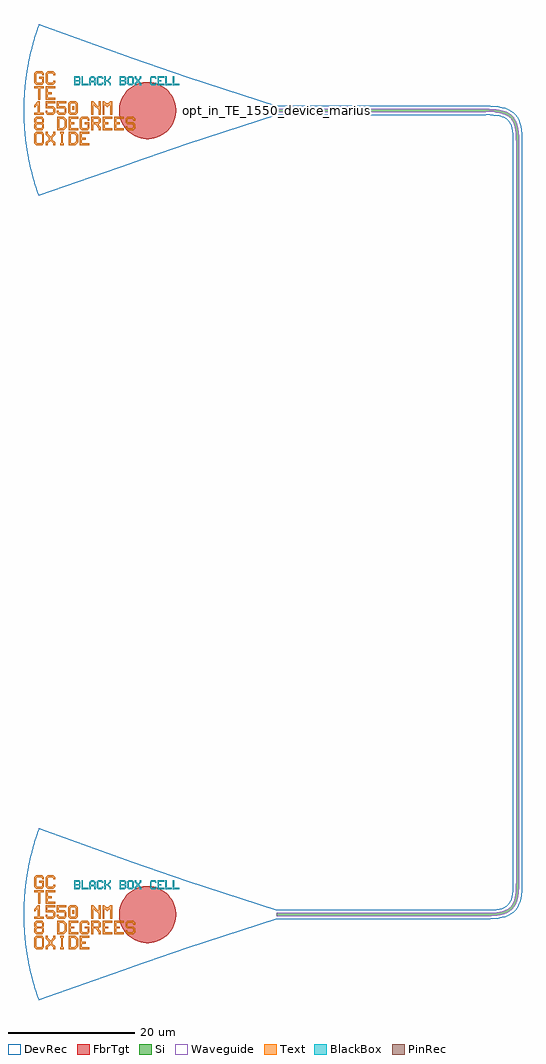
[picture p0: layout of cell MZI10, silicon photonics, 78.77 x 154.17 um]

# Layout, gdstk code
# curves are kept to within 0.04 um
import gdstk
lib = gdstk.Library(unit=1e-6, precision=1e-09)
def R(c, l, rs):  # rectangles x0, y0, x1, y1
    for r in rs: c.add(gdstk.rectangle(r[:2], r[2:], *l))
def P(c, l, *ps):  # polygons
    for p in ps: c.add(gdstk.Polygon(p, *l))
Si = (1, 0)
PinRec = (1, 10)
Waveguide = (1, 99)
Text = (10, 0)
DevRec = (68, 0)
FbrTgt = (81, 0)
BlackBox = (998, 0)

text_1 = lib.new_cell('TEXT$1')
P(text_1, BlackBox, [(0,0),(0,1.4),(0.8,1.4),(1,1.2),(0.2,1.2),(0.2,0.8),(0.7,0.8),(0.8,0.9),(0.8,1.1),(0.7,1.2),(1,1.2),(1,0.8),(0.9,0.7),(1,0.6),(0.2,0.6),(0.2,0.2),(0.7,0.2),(0.8,0.3),(0.8,0.5),(0.7,0.6),(1,0.6),(1,0.2),(0.8,0)],
  [(1.2,0),(1.2,1.4),(1.4,1.4),(1.4,0.2),(2.2,0.2),(2.2,0)],
  [(2.4,0),(2.4,1.1),(2.7,1.4),(3.1,1.4),(3.3,1.2),(2.8,1.2),(2.6,1),(2.6,0.7),(3.2,0.7),(3.2,1),(3,1.2),(3.3,1.2),(3.4,1.1),(3.4,0),(3.2,0),(3.2,0.5),(2.6,0.5),(2.6,0)],
  [(3.8,0),(3.6,0.2),(3.6,1.2),(3.8,1.4),(4.4,1.4),(4.6,1.2),(4.6,1),(4.4,1),(4.4,1.1),(4.3,1.2),(3.9,1.2),(3.8,1.1),(3.8,0.3),(3.9,0.2),(4.3,0.2),(4.4,0.3),(4.4,0.4),(4.6,0.4),(4.6,0.2),(4.4,0)],
  [(4.8,0),(4.8,1.4),(5,1.4),(5,0.8),(5.2,0.8),(5.6,1.2),(5.6,1.4),(5.8,1.4),(5.8,1.1),(5.4,0.7),(5.8,0.3),(5.8,0),(5.6,0),(5.6,0.2),(5.2,0.6),(5,0.6),(5,0)],
  [(7.2,0),(7.2,1.4),(8,1.4),(8.2,1.2),(7.4,1.2),(7.4,0.8),(7.9,0.8),(8,0.9),(8,1.1),(7.9,1.2),(8.2,1.2),(8.2,0.8),(8.1,0.7),(8.2,0.6),(7.4,0.6),(7.4,0.2),(7.9,0.2),(8,0.3),(8,0.5),(7.9,0.6),(8.2,0.6),(8.2,0.2),(8,0)],
  [(8.6,0),(8.4,0.2),(8.4,1.2),(8.6,1.4),(9.2,1.4),(9.4,1.2),(9.4,0.7),(9.2,0.7),(9.2,1.1),(9.1,1.2),(8.7,1.2),(8.6,1.1),(8.6,0.3),(8.7,0.2),(9.1,0.2),(9.2,0.3),(9.2,0.7),(9.4,0.7),(9.4,0.2),(9.2,0)],
  [(9.6,0),(9.6,0.3),(9.9,0.6),(9.9,0.8),(9.6,1.1),(9.6,1.4),(9.8,1.4),(9.8,1.2),(10.1,0.9),(10.4,1.2),(10.4,1.4),(10.6,1.4),(10.6,1.1),(10.3,0.8),(10.3,0.6),(10.6,0.3),(10.6,0),(10.4,0),(10.4,0.2),(10.1,0.5),(9.8,0.2),(9.8,0)],
  [(12.2,0),(12,0.2),(12,1.2),(12.2,1.4),(12.8,1.4),(13,1.2),(13,1),(12.8,1),(12.8,1.1),(12.7,1.2),(12.3,1.2),(12.2,1.1),(12.2,0.3),(12.3,0.2),(12.7,0.2),(12.8,0.3),(12.8,0.4),(13,0.4),(13,0.2),(12.8,0)],
  [(13.2,0),(13.2,1.4),(14.2,1.4),(14.2,1.2),(13.4,1.2),(13.4,0.8),(13.8,0.8),(13.8,0.6),(13.4,0.6),(13.4,0.2),(14.2,0.2),(14.2,0)],
  [(14.4,0),(14.4,1.4),(14.6,1.4),(14.6,0.2),(15.4,0.2),(15.4,0)],
  [(15.6,0),(15.6,1.4),(15.8,1.4),(15.8,0.2),(16.6,0.2),(16.6,0)])

gc_te_1550_8degoxide_bb = lib.new_cell('GC_TE_1550_8degOxide_BB')
R(gc_te_1550_8degoxide_bb, Text, [(-32.313,0.092,-32.013,0.692)])
P(gc_te_1550_8degoxide_bb, Text, [(-37.67,1.71),(-37.67,3.51),(-38.27,3.51),(-38.27,3.81),(-36.77,3.81),(-36.77,3.51),(-37.37,3.51),(-37.37,1.71)],
  [(-37.97,-5.49),(-38.27,-5.19),(-38.27,-3.69),(-37.97,-3.39),(-37.07,-3.39),(-36.77,-3.69),(-36.77,-4.44),(-37.07,-4.44),(-37.07,-3.84),(-37.22,-3.69),(-37.82,-3.69),(-37.97,-3.84),(-37.97,-5.04),(-37.82,-5.19),(-37.22,-5.19),(-37.07,-5.04),(-37.07,-4.44),(-36.77,-4.44),(-36.77,-5.19),(-37.07,-5.49)],
  [(-31.07,-5.49),(-31.07,-3.39),(-29.57,-3.39),(-29.57,-3.69),(-30.77,-3.69),(-30.77,-4.29),(-30.17,-4.29),(-30.17,-4.59),(-30.77,-4.59),(-30.77,-5.19),(-29.57,-5.19),(-29.57,-5.49)],
  [(-32.87,-3.09),(-32.87,-0.99),(-31.37,-0.99),(-31.37,-1.29),(-32.57,-1.29),(-32.57,-1.89),(-31.97,-1.89),(-31.97,-2.19),(-32.57,-2.19),(-32.57,-2.79),(-31.37,-2.79),(-31.37,-3.09)],
  [(-27.47,-3.09),(-27.47,-0.99),(-25.97,-0.99),(-25.97,-1.29),(-27.17,-1.29),(-27.17,-1.89),(-26.57,-1.89),(-26.57,-2.19),(-27.17,-2.19),(-27.17,-2.79),(-25.97,-2.79),(-25.97,-3.09)],
  [(-25.67,-3.09),(-25.67,-0.99),(-24.17,-0.99),(-24.17,-1.29),(-25.37,-1.29),(-25.37,-1.89),(-24.77,-1.89),(-24.77,-2.19),(-25.37,-2.19),(-25.37,-2.79),(-24.17,-2.79),(-24.17,-3.09)],
  [(-36.47,1.71),(-36.47,3.81),(-34.97,3.81),(-34.97,3.51),(-36.17,3.51),(-36.17,2.91),(-35.57,2.91),(-35.57,2.61),(-36.17,2.61),(-36.17,2.01),(-34.97,2.01),(-34.97,1.71)],
  [(-29.313,-0.658),(-29.313,1.442),(-29.013,1.442),(-28.263,0.692),(-28.113,0.692),(-28.113,1.442),(-27.813,1.442),(-27.813,-0.658),(-28.113,-0.658),(-28.113,0.092),(-28.863,0.842),(-29.013,0.842),(-29.013,-0.658)],
  [(-34.22,-5.49),(-34.22,-5.19),(-34.07,-5.19),(-34.07,-3.69),(-34.22,-3.69),(-34.22,-3.39),(-33.62,-3.39),(-33.62,-3.69),(-33.77,-3.69),(-33.77,-5.19),(-33.62,-5.19),(-33.62,-5.49)],
  [(-36.17,4.11),(-36.47,4.41),(-36.47,5.91),(-36.17,6.21),(-35.27,6.21),(-34.97,5.91),(-34.97,5.61),(-35.27,5.61),(-35.27,5.76),(-35.42,5.91),(-36.02,5.91),(-36.17,5.76),(-36.17,4.56),(-36.02,4.41),(-35.42,4.41),(-35.27,4.56),(-35.27,4.71),(-34.97,4.71),(-34.97,4.41),(-35.27,4.11)],
  [(-27.513,-0.658),(-27.513,1.442),(-27.213,1.442),(-26.913,1.142),(-26.613,1.142),(-26.313,1.442),(-26.013,1.442),(-26.013,-0.658),(-26.313,-0.658),(-26.313,0.842),(-26.463,0.842),(-26.763,0.542),(-27.063,0.842),(-27.213,0.842),(-27.213,-0.658)],
  [(-32.613,-0.658),(-32.913,-0.358),(-32.913,1.142),(-32.613,1.442),(-31.713,1.442),(-31.413,1.142),(-32.463,1.142),(-32.613,0.992),(-32.613,-0.208),(-32.463,-0.358),(-31.863,-0.358),(-31.713,-0.208),(-31.713,0.992),(-31.863,1.142),(-31.413,1.142),(-31.413,-0.358),(-31.713,-0.658)],
  [(-32.87,-5.49),(-32.87,-3.39),(-31.82,-3.39),(-31.52,-3.69),(-32.57,-3.69),(-32.57,-5.19),(-31.97,-5.19),(-31.67,-4.89),(-31.67,-3.99),(-31.97,-3.69),(-31.52,-3.69),(-31.37,-3.84),(-31.37,-5.04),(-31.82,-5.49)],
  [(-34.67,-3.09),(-34.67,-0.99),(-33.62,-0.99),(-33.32,-1.29),(-34.37,-1.29),(-34.37,-2.79),(-33.77,-2.79),(-33.47,-2.49),(-33.47,-1.59),(-33.77,-1.29),(-33.32,-1.29),(-33.17,-1.44),(-33.17,-2.64),(-33.62,-3.09)],
  [(-23.57,-3.09),(-23.87,-2.79),(-23.87,-2.49),(-23.57,-2.49),(-23.57,-2.64),(-23.42,-2.79),(-22.82,-2.79),(-22.67,-2.64),(-22.67,-2.34),(-22.82,-2.19),(-23.57,-2.19),(-23.87,-1.89),(-23.87,-1.29),(-23.57,-0.99),(-22.67,-0.99),(-22.37,-1.29),(-22.37,-1.59),(-22.67,-1.59),(-22.67,-1.44),(-22.82,-1.29),(-23.42,-1.29),(-23.57,-1.44),(-23.57,-1.74),(-23.42,-1.89),(-22.67,-1.89),(-22.37,-2.19),(-22.37,-2.79),(-22.67,-3.09)],
  [(-36.213,-0.658),(-36.513,-0.358),(-36.513,-0.058),(-36.213,-0.058),(-36.213,-0.208),(-36.063,-0.358),(-35.463,-0.358),(-35.313,-0.208),(-35.313,0.242),(-35.463,0.392),(-36.513,0.392),(-36.513,1.442),(-35.013,1.442),(-35.013,1.142),(-36.213,1.142),(-36.213,0.692),(-35.313,0.692),(-35.013,0.392),(-35.013,-0.358),(-35.313,-0.658)],
  [(-34.413,-0.658),(-34.713,-0.358),(-34.713,-0.058),(-34.413,-0.058),(-34.413,-0.208),(-34.263,-0.358),(-33.663,-0.358),(-33.513,-0.208),(-33.513,0.242),(-33.663,0.392),(-34.713,0.392),(-34.713,1.442),(-33.213,1.442),(-33.213,1.142),(-34.413,1.142),(-34.413,0.692),(-33.513,0.692),(-33.213,0.392),(-33.213,-0.358),(-33.513,-0.658)],
  [(-37.97,-3.09),(-38.27,-2.79),(-38.27,-2.19),(-38.12,-2.04),(-38.27,-1.89),(-38.27,-1.29),(-37.97,-0.99),(-37.07,-0.99),(-36.77,-1.29),(-37.82,-1.29),(-37.97,-1.44),(-37.97,-1.74),(-37.82,-1.89),(-37.22,-1.89),(-37.07,-1.74),(-37.07,-1.44),(-37.22,-1.29),(-36.77,-1.29),(-36.77,-1.89),(-36.92,-2.04),(-36.77,-2.19),(-37.82,-2.19),(-37.97,-2.34),(-37.97,-2.64),(-37.82,-2.79),(-37.22,-2.79),(-37.07,-2.64),(-37.07,-2.34),(-37.22,-2.19),(-36.77,-2.19),(-36.77,-2.79),(-37.07,-3.09)],
  [(-38.313,-0.658),(-38.313,-0.358),(-37.713,-0.358),(-37.713,0.842),(-37.863,0.842),(-38.163,0.542),(-38.313,0.542),(-38.313,0.842),(-37.713,1.442),(-37.413,1.442),(-37.413,-0.358),(-36.813,-0.358),(-36.813,-0.658)],
  [(-36.47,-5.49),(-36.47,-5.04),(-36.02,-4.59),(-36.02,-4.29),(-36.47,-3.84),(-36.47,-3.39),(-36.17,-3.39),(-36.17,-3.69),(-35.72,-4.14),(-35.27,-3.69),(-35.27,-3.39),(-34.97,-3.39),(-34.97,-3.84),(-35.42,-4.29),(-35.42,-4.59),(-34.97,-5.04),(-34.97,-5.49),(-35.27,-5.49),(-35.27,-5.19),(-35.72,-4.74),(-36.17,-5.19),(-36.17,-5.49)],
  [(-30.77,-3.09),(-31.07,-2.79),(-31.07,-1.29),(-30.77,-0.99),(-29.87,-0.99),(-29.57,-1.29),(-29.57,-1.59),(-29.87,-1.59),(-29.87,-1.44),(-30.02,-1.29),(-30.62,-1.29),(-30.77,-1.44),(-30.77,-2.64),(-30.62,-2.79),(-30.02,-2.79),(-29.87,-2.64),(-29.87,-2.19),(-30.32,-2.19),(-30.32,-1.89),(-29.57,-1.89),(-29.57,-2.79),(-29.87,-3.09)],
  [(-37.97,4.11),(-38.27,4.41),(-38.27,5.91),(-37.97,6.21),(-37.07,6.21),(-36.77,5.91),(-36.77,5.61),(-37.07,5.61),(-37.07,5.76),(-37.22,5.91),(-37.82,5.91),(-37.97,5.76),(-37.97,4.56),(-37.82,4.41),(-37.22,4.41),(-37.07,4.56),(-37.07,5.01),(-37.52,5.01),(-37.52,5.31),(-36.77,5.31),(-36.77,4.41),(-37.07,4.11)],
  [(-29.27,-3.09),(-29.27,-0.99),(-28.07,-0.99),(-27.77,-1.29),(-28.97,-1.29),(-28.97,-1.89),(-28.22,-1.89),(-28.07,-1.74),(-28.07,-1.44),(-28.22,-1.29),(-27.77,-1.29),(-27.77,-1.89),(-28.07,-2.19),(-28.07,-2.34),(-27.77,-2.64),(-27.77,-3.09),(-28.07,-3.09),(-28.07,-2.79),(-28.67,-2.19),(-28.97,-2.19),(-28.97,-3.09)])
P(gc_te_1550_8degoxide_bb, DevRec, [(-37.607,-13.5),(-38.627,-10.245),(-39.378,-6.832),(-39.647,-5.058),(-39.835,-3.274),(-39.969,0.224),(-39.812,3.541),(-39.331,7.097),(-38.557,10.505),(-37.546,13.669),(-22.8,8.353),(-14.109,5.36),(0,0.75),(0,-0.75),(-14.109,-5.36)])
P(gc_te_1550_8degoxide_bb, FbrTgt, [(-20.621,-4.5),(-21.495,-4.37),(-22.326,-4.073),(-23.084,-3.619),(-23.738,-3.026),(-24.264,-2.316),(-24.642,-1.518),(-24.857,-0.661),(-24.9,0.221),(-24.77,1.095),(-24.473,1.926),(-24.019,2.684),(-23.426,3.338),(-22.716,3.864),(-21.918,4.242),(-21.061,4.457),(-20.179,4.5),(-19.305,4.37),(-18.474,4.073),(-17.716,3.619),(-17.062,3.026),(-16.536,2.316),(-16.158,1.518),(-15.943,0.661),(-15.9,-0.221),(-16.03,-1.095),(-16.327,-1.926),(-16.781,-2.684),(-17.374,-3.338),(-18.084,-3.864),(-18.882,-4.242),(-19.739,-4.457)])
gc_te_1550_8degoxide_bb.add(gdstk.FlexPath([(-0.01,0),(0.01,0)], 0.5, ends="flush", simple_path=True, layer=1, datatype=10))  # PinRec
gc_te_1550_8degoxide_bb.add(gdstk.Reference(text_1, (-32,4)))
gc_te_1550_8degoxide_bb.add(gdstk.Label('opt1', (0,0), layer=1, texttype=10))
gc_te_1550_8degoxide_bb.add(gdstk.Label('Component=GC_TE_1550_8degOxide_BB', (-28,-5), layer=68, texttype=0))

waveguide = lib.new_cell('Waveguide')
P(waveguide, Si, [(39.969,13.25),(39.969,13.75),(74.227,13.788),(75.5,13.978),(76.114,14.186),(76.514,14.406),(76.844,14.677),(77.114,15.006),(77.506,15.887),(77.717,17.114),(77.771,18.5),(77.771,135.5),(77.718,136.885),(77.507,138.112),(77.115,138.993),(76.768,139.396),(76.422,139.652),(75.501,140.021),(74.043,140.222),(39.969,140.25),(39.969,140.75),(73.024,140.75),(74.635,140.676),(75.772,140.465),(76.319,140.269),(76.902,139.932),(77.288,139.582),(77.669,139.043),(77.897,138.532),(78.096,137.792),(78.216,136.931),(78.267,135.937),(78.271,18.497),(78.197,16.886),(77.986,15.749),(77.79,15.202),(77.453,14.619),(77.103,14.233),(76.681,13.919),(76.188,13.675),(75.624,13.494),(74.07,13.277)])
P(waveguide, Waveguide, [(39.969,13.25),(39.969,13.75),(74.227,13.788),(75.5,13.978),(76.114,14.186),(76.514,14.406),(76.844,14.677),(77.114,15.006),(77.506,15.887),(77.717,17.114),(77.771,18.5),(77.771,135.5),(77.718,136.885),(77.507,138.112),(77.115,138.993),(76.768,139.396),(76.422,139.652),(75.501,140.021),(74.043,140.222),(39.969,140.25),(39.969,140.75),(73.024,140.75),(74.635,140.676),(75.772,140.465),(76.319,140.269),(76.902,139.932),(77.288,139.582),(77.669,139.043),(77.897,138.532),(78.096,137.792),(78.216,136.931),(78.267,135.937),(78.271,18.497),(78.197,16.886),(77.986,15.749),(77.79,15.202),(77.453,14.619),(77.103,14.233),(76.681,13.919),(76.188,13.675),(75.624,13.494),(74.07,13.277)])
P(waveguide, DevRec, [(39.969,12.75),(39.969,14.25),(73.021,14.25),(74.765,14.347),(75.916,14.645),(76.396,14.942),(76.735,15.341),(76.995,15.924),(77.173,16.755),(77.271,18.511),(77.271,135.5),(77.229,136.73),(76.996,138.075),(76.876,138.395),(76.579,138.875),(76.397,139.057),(75.917,139.354),(74.766,139.652),(73.671,139.739),(39.969,139.75),(39.969,141.25),(73.034,141.25),(74.974,141.138),(76.049,140.904),(76.972,140.488),(77.371,140.197),(78.01,139.45),(78.244,139.009),(78.562,138.009),(78.761,136.201),(78.771,18.487),(78.659,16.547),(78.425,15.472),(78.009,14.549),(77.718,14.15),(76.971,13.511),(76.048,13.095),(75.53,12.959),(74.371,12.796),(73.021,12.75)])
waveguide.add(gdstk.FlexPath([(39.979,13.5),(39.959,13.5)], 0.5, ends="flush", simple_path=True, layer=1, datatype=10))  # PinRec
waveguide.add(gdstk.FlexPath([(39.979,140.5),(39.959,140.5)], 0.5, ends="flush", simple_path=True, layer=1, datatype=10))  # PinRec
waveguide.add(gdstk.Label('opt1', (39.969,13.5), layer=1, texttype=10))
waveguide.add(gdstk.Label('opt2', (39.969,140.5), layer=1, texttype=10))
waveguide.add(gdstk.Label('Lumerical_INTERCONNECT_library=Design kits/EBeam', (39.969,13.4), layer=68, texttype=0))
waveguide.add(gdstk.Label('Component=ebeam_wg_integral_1550', (39.969,13.6), layer=68, texttype=0))
waveguide.add(gdstk.Label('cellName=Waveguide', (39.969,13.7), layer=68, texttype=0))
waveguide.add(gdstk.Label('Spice_param:wg_length=0.000200001 wg_width=5e-07 points="[[39.969,13.5],[78.021,13.5],[78.021,140.5],[39.969,140.5]]" radius=5e-06', (39.969,13.5), layer=68, texttype=0))
waveguide.add(gdstk.Label('Length=200.001 (microns)', (39.969,12.9), layer=68, texttype=0))
waveguide.add(gdstk.Label('waveguide_type=Strip TE 1550 nm, w=500 nm', (39.969,13.3), layer=68, texttype=0))

mzi10 = lib.new_cell('MZI10')
r = gdstk.Reference(gc_te_1550_8degoxide_bb, (39.969,13.5)); r.repetition = gdstk.Repetition(1, 2, v1=(0,0), v2=(0,127)); mzi10.add(r)
mzi10.add(gdstk.Reference(waveguide, (0,0)))
mzi10.add(gdstk.Label('opt_in_TE_1550_device_mariusminnen_MZI10', (39.959,140.5), layer=10, texttype=0))

lib.write_gds('MZI10.gds')
